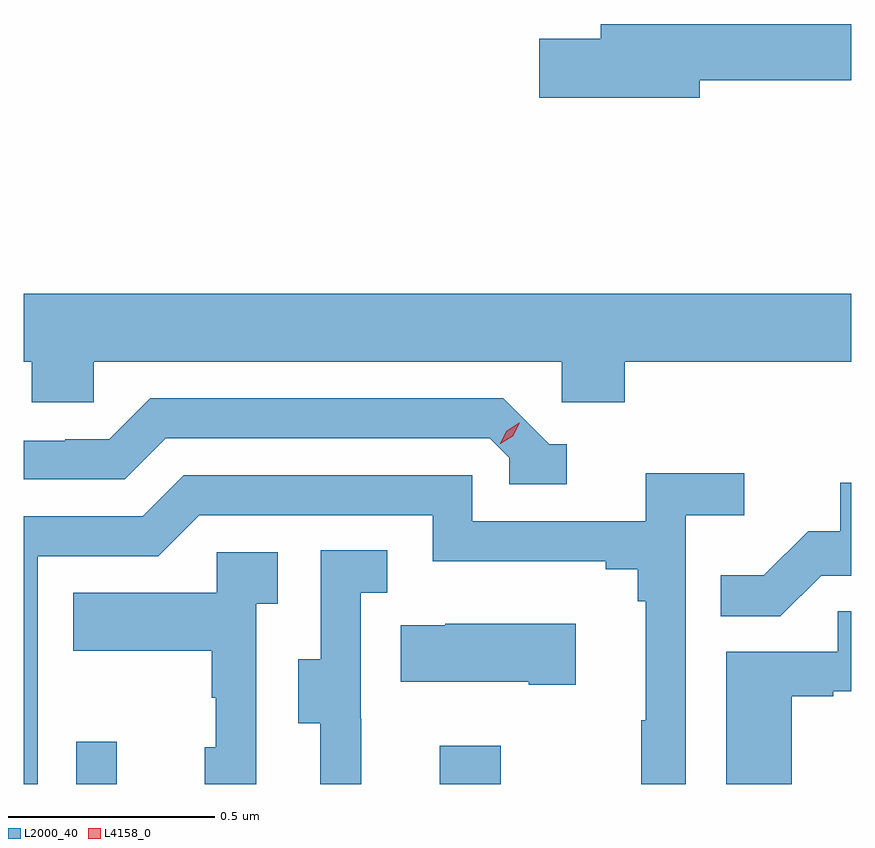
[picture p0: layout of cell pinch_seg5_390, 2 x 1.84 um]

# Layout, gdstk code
import gdstk
lib = gdstk.Library(unit=1e-6, precision=1e-09)
def R(c, l, rs):  # rectangles x0, y0, x1, y1
    for r in rs: c.add(gdstk.rectangle(r[:2], r[2:], *l))
def P(c, l, *ps):  # polygons
    for p in ps: c.add(gdstk.Polygon(p, *l))
L2000_40 = (2000, 40)
L4158_0 = (4158, 0)

pinch_seg5_390 = lib.new_cell('pinch_seg5_390')
R(pinch_seg5_390, L2000_40, [(1004.931,870.391,1005.029,870.493), (1005.809,870.391,1005.957,870.484)])
P(pinch_seg5_390, L2000_40, [(1006.438,872.092),(1006.804,872.092),(1006.804,872.228),(1006.199,872.228),(1006.199,872.192),(1006.05,872.192),(1006.05,872.05),(1006.438,872.05)],
  [(1004.804,871.412),(1004.823,871.412),(1004.823,871.314),(1004.973,871.314),(1004.973,871.412),(1006.104,871.412),(1006.104,871.314),(1006.256,871.314),(1006.256,871.412),(1006.804,871.412),(1006.804,871.576),(1004.804,871.576)],
  [(1006.117,871.212),(1006.074,871.212),(1005.963,871.323),(1005.11,871.323),(1005.011,871.224),(1004.904,871.224),(1004.904,871.221),(1004.804,871.221),(1004.804,871.128),(1005.048,871.128),(1005.147,871.227),(1005.93,871.227),(1005.978,871.179),(1005.978,871.116),(1006.117,871.116)],
  [(1004.838,870.942),(1005.129,870.942),(1005.228,871.041),(1005.792,871.041),(1005.792,870.929),(1006.211,870.929),(1006.211,870.91),(1006.288,870.91),(1006.288,870.833),(1006.307,870.833),(1006.307,870.545),(1006.296,870.545),(1006.296,870.391),(1006.404,870.391),(1006.404,871.04),(1006.546,871.04),(1006.546,871.142),(1006.307,871.142),(1006.307,871.026),(1005.888,871.026),(1005.888,871.137),(1005.191,871.137),(1005.092,871.038),(1004.804,871.038),(1004.804,870.391),(1004.838,870.391)],
  [(1006.731,870.894),(1006.804,870.894),(1006.804,871.119),(1006.777,871.119),(1006.777,871.002),(1006.7,871.002),(1006.593,870.895),(1006.489,870.895),(1006.489,870.796),(1006.633,870.796)],
  [(1005.62,870.549),(1005.618,870.549),(1005.618,870.853),(1005.682,870.853),(1005.682,870.956),(1005.522,870.956),(1005.522,870.693),(1005.467,870.693),(1005.467,870.538),(1005.521,870.538),(1005.521,870.391),(1005.62,870.391)],
  [(1005.366,870.827),(1005.418,870.827),(1005.418,870.951),(1005.27,870.951),(1005.27,870.853),(1004.923,870.853),(1004.923,870.713),(1005.258,870.713),(1005.258,870.599),(1005.268,870.599),(1005.268,870.48),(1005.242,870.48),(1005.242,870.391),(1005.366,870.391)],
  [(1006.66,870.603),(1006.76,870.603),(1006.76,870.615),(1006.804,870.615),(1006.804,870.809),(1006.771,870.809),(1006.771,870.711),(1006.502,870.711),(1006.502,870.391),(1006.66,870.391)],
  [(1006.138,870.778),(1005.823,870.778),(1005.823,870.775),(1005.715,870.775),(1005.715,870.638),(1006.025,870.638),(1006.025,870.631),(1006.138,870.631)])
P(pinch_seg5_390, L4158_0, [(1005.955,871.212),(1005.955,871.212),(1005.971,871.245),(1006.002,871.264),(1006.003,871.264),(1006.003,871.264),(1005.986,871.231),(1005.955,871.212)])

lib.write_gds('pinch_seg5_390.gds')
